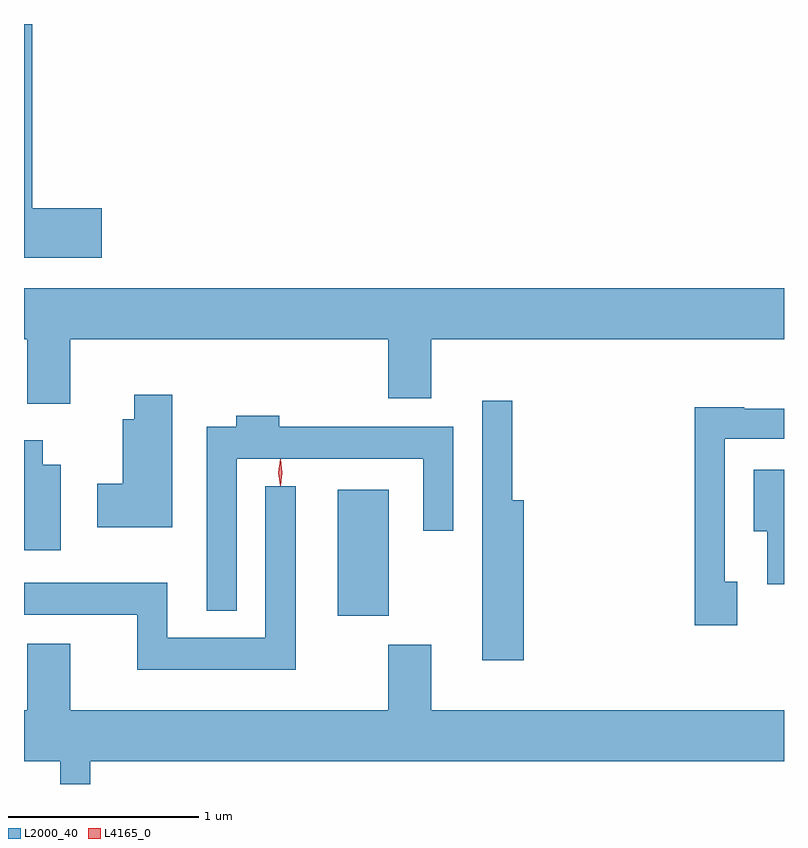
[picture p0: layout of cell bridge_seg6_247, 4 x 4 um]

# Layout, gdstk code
import gdstk
lib = gdstk.Library(unit=1e-6, precision=1e-09)
def R(c, l, rs):  # rectangles x0, y0, x1, y1
    for r in rs: c.add(gdstk.rectangle(r[:2], r[2:], *l))
def P(c, l, *ps):  # polygons
    for p in ps: c.add(gdstk.Polygon(p, *l))
L2000_40 = (2000, 40)
L4165_0 = (4165, 0)

bridge_seg6_247 = lib.new_cell('bridge_seg6_247')
R(bridge_seg6_247, L2000_40, [(1418.866,1573.001,1419.134,1573.664)])
P(bridge_seg6_247, L2000_40, [(1417.624,1575.144),(1417.259,1575.144),(1417.259,1576.115),(1417.215,1576.115),(1417.215,1574.886),(1417.624,1574.886)],
  [(1417.459,1574.456),(1419.131,1574.456),(1419.131,1574.146),(1419.359,1574.146),(1419.359,1574.456),(1421.215,1574.456),(1421.215,1574.724),(1417.215,1574.724),(1417.215,1574.456),(1417.231,1574.456),(1417.231,1574.116),(1417.459,1574.116)],
  [(1417.994,1574.164),(1417.796,1574.164),(1417.796,1574.034),(1417.736,1574.034),(1417.736,1573.694),(1417.601,1573.694),(1417.601,1573.466),(1417.994,1573.466)],
  [(1419.844,1573.609),(1419.784,1573.609),(1419.784,1574.133),(1419.626,1574.133),(1419.626,1572.766),(1419.844,1572.766)],
  [(1420.969,1573.179),(1420.904,1573.179),(1420.904,1573.931),(1421.215,1573.931),(1421.215,1574.089),(1421.005,1574.089),(1421.005,1574.099),(1420.746,1574.099),(1420.746,1572.951),(1420.969,1572.951)],
  [(1418.334,1573.826),(1419.316,1573.826),(1419.316,1573.448),(1419.474,1573.448),(1419.474,1573.994),(1418.559,1573.994),(1418.559,1574.054),(1418.331,1574.054),(1418.331,1573.994),(1418.176,1573.994),(1418.176,1573.028),(1418.334,1573.028)],
  [(1417.409,1573.794),(1417.314,1573.794),(1417.314,1573.924),(1417.215,1573.924),(1417.215,1573.346),(1417.409,1573.346)],
  [(1421.215,1573.769),(1421.056,1573.769),(1421.056,1573.446),(1421.126,1573.446),(1421.126,1573.166),(1421.215,1573.166)],
  [(1418.644,1573.683),(1418.486,1573.683),(1418.486,1572.884),(1417.969,1572.884),(1417.969,1573.174),(1417.215,1573.174),(1417.215,1573.006),(1417.811,1573.006),(1417.811,1572.716),(1418.644,1572.716)],
  [(1417.564,1572.236),(1421.215,1572.236),(1421.215,1572.504),(1419.359,1572.504),(1419.359,1572.849),(1419.131,1572.849),(1419.131,1572.504),(1417.459,1572.504),(1417.459,1572.854),(1417.231,1572.854),(1417.231,1572.504),(1417.215,1572.504),(1417.215,1572.236),(1417.406,1572.236),(1417.406,1572.115),(1417.564,1572.115)])
P(bridge_seg6_247, L4165_0, [(1418.564,1573.684),(1418.564,1573.684),(1418.554,1573.753),(1418.564,1573.823),(1418.564,1573.823),(1418.565,1573.823),(1418.574,1573.753),(1418.565,1573.684)],
  [(1418.564,1573.687),(1418.564,1573.687),(1418.554,1573.754),(1418.564,1573.82),(1418.564,1573.821),(1418.565,1573.82),(1418.574,1573.754),(1418.565,1573.687)])

lib.write_gds('bridge_seg6_247.gds')
